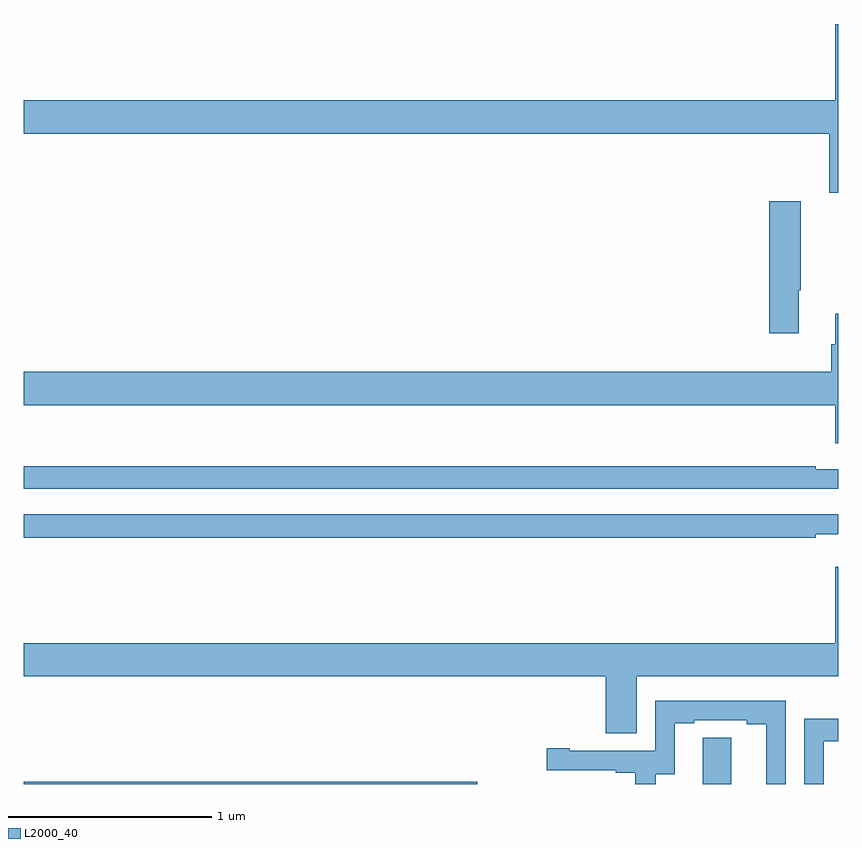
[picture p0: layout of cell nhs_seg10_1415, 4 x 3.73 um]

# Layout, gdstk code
import gdstk
lib = gdstk.Library(unit=1e-6, precision=1e-09)
def R(c, l, rs):  # rectangles x0, y0, x1, y1
    for r in rs: c.add(gdstk.rectangle(r[:2], r[2:], *l))
def P(c, l, *ps):  # polygons
    for p in ps: c.add(gdstk.Polygon(p, *l))
L2000_40 = (2000, 40)

nhs_seg10_1415 = lib.new_cell('nhs_seg10_1415')
R(nhs_seg10_1415, L2000_40, [(185,1254.5,187.227,1254.512)])
P(nhs_seg10_1415, L2000_40, [(189,1258.231),(188.984,1258.231),(188.984,1257.856),(185,1257.856),(185,1257.692),(188.954,1257.692),(188.954,1257.402),(189,1257.402)],
  [(188.806,1256.924),(188.814,1256.924),(188.814,1257.361),(188.66,1257.361),(188.66,1256.712),(188.806,1256.712)],
  [(189,1256.809),(188.984,1256.809),(188.984,1256.658),(188.965,1256.658),(188.965,1256.524),(185,1256.524),(185,1256.36),(188.984,1256.36),(188.984,1256.172),(189,1256.172)],
  [(189,1256.046),(188.888,1256.046),(188.888,1256.059),(185,1256.059),(185,1255.95),(189,1255.95)],
  [(188.888,1255.727),(189,1255.727),(189,1255.824),(185,1255.824),(185,1255.708),(188.888,1255.708)],
  [(188.011,1255.028),(189,1255.028),(189,1255.567),(188.984,1255.567),(188.984,1255.192),(185,1255.192),(185,1255.028),(187.859,1255.028),(187.859,1254.748),(188.011,1254.748)],
  [(188.103,1254.547),(188.197,1254.547),(188.197,1254.798),(188.293,1254.798),(188.293,1254.813),(188.549,1254.813),(188.549,1254.793),(188.645,1254.793),(188.645,1254.5),(188.742,1254.5),(188.742,1254.909),(188.1,1254.909),(188.1,1254.663),(187.681,1254.663),(187.681,1254.676),(187.569,1254.676),(187.569,1254.567),(187.907,1254.567),(187.907,1254.555),(188.003,1254.555),(188.003,1254.5),(188.103,1254.5)],
  [(188.929,1254.711),(189,1254.711),(189,1254.821),(188.832,1254.821),(188.832,1254.5),(188.929,1254.5)],
  [(188.473,1254.728),(188.334,1254.728),(188.334,1254.62),(188.333,1254.62),(188.333,1254.5),(188.473,1254.5)])

lib.write_gds('nhs_seg10_1415.gds')
